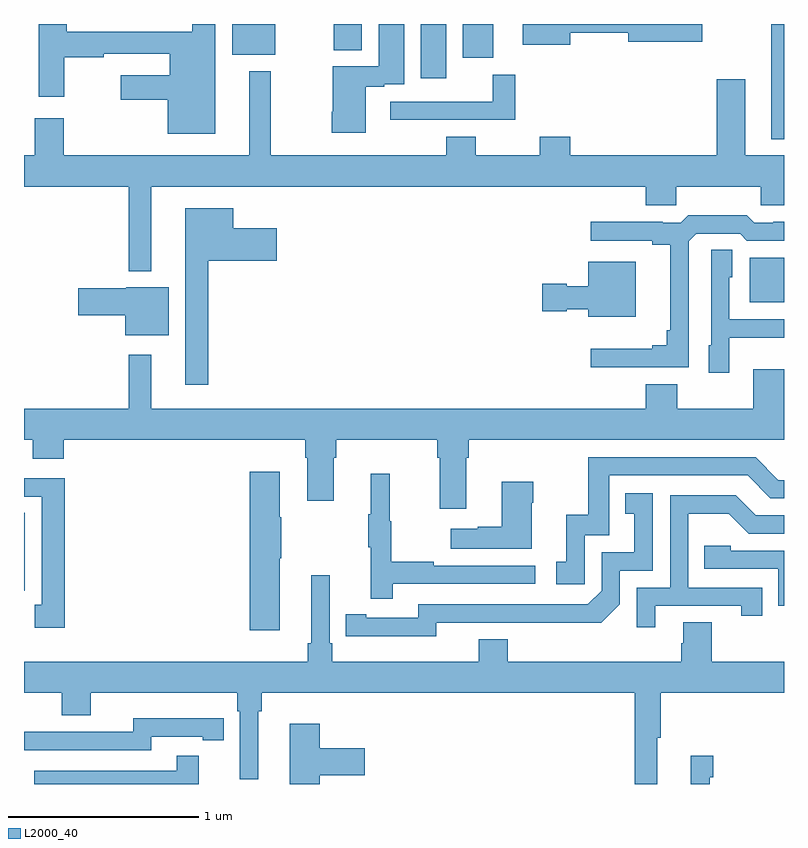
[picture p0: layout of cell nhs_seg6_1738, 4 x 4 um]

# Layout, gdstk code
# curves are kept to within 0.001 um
import gdstk
lib = gdstk.Library(unit=1e-6, precision=1e-09)
def R(c, l, rs):  # rectangles x0, y0, x1, y1
    for r in rs: c.add(gdstk.rectangle(r[:2], r[2:], *l))
def P(c, l, *ps):  # polygons
    for p in ps: c.add(gdstk.Polygon(p, *l))
L2000_40 = (2000, 40)

nhs_seg6_1738 = lib.new_cell('nhs_seg6_1738')
R(nhs_seg6_1738, L2000_40, [(215,970.516,215.005,970.928), (218.819,972.035,219,972.271), (218.933,972.893,219,973.5), (217.088,973.215,217.222,973.5), (217.31,973.323,217.471,973.5), (216.095,973.337,216.322,973.5), (216.631,973.363,216.778,973.5)])
P(nhs_seg6_1738, L2000_40, [(216.799,973.17),(216.896,973.17),(216.896,973.182),(217,973.182),(217,973.5),(216.866,973.5),(216.866,973.278),(216.626,973.278),(216.626,973.039),(216.619,973.039),(216.619,972.927),(216.799,972.927)],
  [(217.876,973.453),(218.18,973.453),(218.18,973.406),(218.569,973.406),(218.569,973.5),(217.625,973.5),(217.625,973.391),(217.876,973.391)],
  [(216.007,973.5),(215.886,973.5),(215.886,973.46),(215.225,973.46),(215.225,973.5),(215.078,973.5),(215.078,973.116),(215.212,973.116),(215.212,973.324),(215.42,973.324),(215.42,973.344),(215.768,973.344),(215.768,973.231),(215.508,973.231),(215.508,973.102),(215.756,973.102),(215.756,972.923),(216.007,972.923)],
  [(215.671,972.644),(218.273,972.644),(218.273,972.546),(218.433,972.546),(218.433,972.644),(218.878,972.644),(218.878,972.546),(219,972.546),(219,972.808),(218.797,972.808),(218.797,973.21),(218.645,973.21),(218.645,972.808),(217.874,972.808),(217.874,972.907),(217.714,972.907),(217.714,972.808),(217.377,972.808),(217.377,972.907),(217.222,972.907),(217.222,972.808),(216.299,972.808),(216.299,973.252),(216.185,973.252),(216.185,972.808),(215.21,972.808),(215.21,973.003),(215.057,973.003),(215.057,972.808),(215,972.808),(215,972.644),(215.55,972.644),(215.55,972.2),(215.671,972.2)],
  [(217.586,973.234),(217.468,973.234),(217.468,973.092),(216.927,973.092),(216.927,972.996),(217.586,972.996)],
  [(215.971,972.254),(216.331,972.254),(216.331,972.424),(216.1,972.424),(216.1,972.529),(215.849,972.529),(215.849,971.601),(215.971,971.601)],
  [(218.499,972.357),(218.538,972.396),(218.769,972.396),(218.805,972.36),(219,972.36),(219,972.458),(218.944,972.458),(218.944,972.453),(218.844,972.453),(218.805,972.493),(218.497,972.493),(218.457,972.453),(218.363,972.453),(218.363,972.458),(217.983,972.458),(217.983,972.36),(218.306,972.36),(218.306,972.338),(218.402,972.338),(218.402,971.887),(218.383,971.887),(218.383,971.81),(218.306,971.81),(218.306,971.791),(217.983,971.791),(217.983,971.694),(218.499,971.694)],
  [(218.712,971.849),(219,971.849),(219,971.946),(218.712,971.946),(218.712,972.168),(218.728,972.168),(218.728,972.311),(218.616,972.311),(218.616,971.808),(218.603,971.808),(218.603,971.664),(218.712,971.664)],
  [(218.221,972.25),(217.97,972.25),(217.97,972.121),(217.857,972.121),(217.857,972.134),(217.728,972.134),(217.728,971.987),(217.857,971.987),(217.857,971.999),(217.97,971.999),(217.97,971.96),(218.221,971.96)],
  [(215.761,972.115),(215.538,972.115),(215.538,972.11),(215.286,972.11),(215.286,971.968),(215.534,971.968),(215.534,971.861),(215.761,971.861)],
  [(219,971.683),(218.837,971.683),(218.837,971.476),(218.437,971.476),(218.437,971.605),(218.273,971.605),(218.273,971.476),(215.671,971.476),(215.671,971.758),(215.55,971.758),(215.55,971.476),(215,971.476),(215,971.312),(215.045,971.312),(215.045,971.213),(215.21,971.213),(215.21,971.312),(216.479,971.312),(216.479,971.216),(216.491,971.216),(216.491,970.992),(216.631,970.992),(216.631,971.216),(216.644,971.216),(216.644,971.312),(217.175,971.312),(217.175,971.216),(217.187,971.216),(217.187,970.95),(217.327,970.95),(217.327,971.216),(217.34,971.216),(217.34,971.312),(219,971.312)],
  [(217.95,970.809),(218.079,970.809),(218.079,971.124),(218.808,971.124),(218.928,971.004),(219,971.004),(219,971.1),(218.97,971.1),(218.85,971.22),(217.971,971.22),(217.971,970.918),(217.853,970.918),(217.853,970.671),(217.8,970.671),(217.8,970.551),(217.95,970.551)],
  [(216.346,970.687),(216.354,970.687),(216.354,970.904),(216.346,970.904),(216.346,971.143),(216.188,971.143),(216.188,970.308),(216.346,970.308)],
  [(216.941,970.554),(217.69,970.554),(217.69,970.65),(217.157,970.65),(217.157,970.67),(216.934,970.67),(216.934,970.884),(216.926,970.884),(216.926,971.134),(216.824,971.134),(216.824,970.921),(216.813,970.921),(216.813,970.747),(216.824,970.747),(216.824,970.476),(216.941,970.476)],
  [(215.215,971.109),(215,971.109),(215,971.013),(215.093,971.013),(215.093,970.443),(215.057,970.443),(215.057,970.323),(215.215,970.323)],
  [(217.672,970.979),(217.68,970.979),(217.68,971.092),(217.514,971.092),(217.514,970.853),(217.388,970.853),(217.388,970.843),(217.245,970.843),(217.245,970.739),(217.672,970.739)],
  [(217.17,970.35),(218.038,970.349),(218.136,970.446),(218.136,970.623),(218.31,970.623),(218.31,971.029),(218.164,971.029),(218.164,970.923),(218.213,970.923),(218.213,970.719),(218.04,970.719),(218.04,970.518),(217.968,970.446),(217.074,970.446),(217.074,970.374),(216.802,970.374),(216.802,970.394),(216.694,970.394),(216.694,970.278),(217.17,970.277)],
  [(218.323,970.437),(218.774,970.437),(218.774,970.386),(218.885,970.386),(218.885,970.533),(218.496,970.533),(218.496,970.922),(218.71,970.922),(218.814,970.818),(219,970.818),(219,970.914),(218.851,970.914),(218.746,971.019),(218.4,971.019),(218.4,970.533),(218.226,970.533),(218.226,970.326),(218.323,970.326)],
  [(219,970.728),(218.721,970.728),(218.721,970.755),(218.581,970.755),(218.581,970.632),(218.97,970.632),(218.97,970.437),(219,970.437)],
  [(218.333,969.744),(218.351,969.744),(218.351,969.98),(219,969.98),(219,970.144),(218.619,970.144),(218.619,970.352),(218.471,970.352),(218.471,970.242),(218.459,970.242),(218.459,970.144),(217.547,970.144),(217.547,970.261),(217.394,970.261),(217.394,970.144),(216.623,970.144),(216.623,970.24),(216.609,970.24),(216.609,970.6),(216.512,970.6),(216.512,970.24),(216.493,970.24),(216.493,970.144),(215,970.144),(215,969.98),(215.198,969.98),(215.198,969.863),(215.35,969.863),(215.35,969.98),(216.122,969.98),(216.122,969.884),(216.135,969.884),(216.135,969.525),(216.232,969.525),(216.232,969.884),(216.251,969.884),(216.251,969.98),(218.215,969.98),(218.215,969.5),(218.333,969.5)],
  [(215.67,969.75),(215.942,969.75),(215.942,969.73),(216.05,969.73),(216.05,969.846),(215.942,969.846),(215.942,969.847),(215.574,969.847),(215.574,969.774),(215.114,969.774),(215.114,969.776),(215,969.776),(215,969.678),(215.67,969.678)],
  [(216.557,969.545),(216.793,969.545),(216.793,969.687),(216.557,969.687),(216.557,969.817),(216.398,969.817),(216.398,969.5),(216.557,969.5)],
  [(215.921,969.649),(215.803,969.649),(215.803,969.57),(215.055,969.57),(215.055,969.5),(215.921,969.5)],
  [(218.61,969.536),(218.627,969.536),(218.627,969.649),(218.51,969.649),(218.51,969.5),(218.61,969.5)])

lib.write_gds('nhs_seg6_1738.gds')
